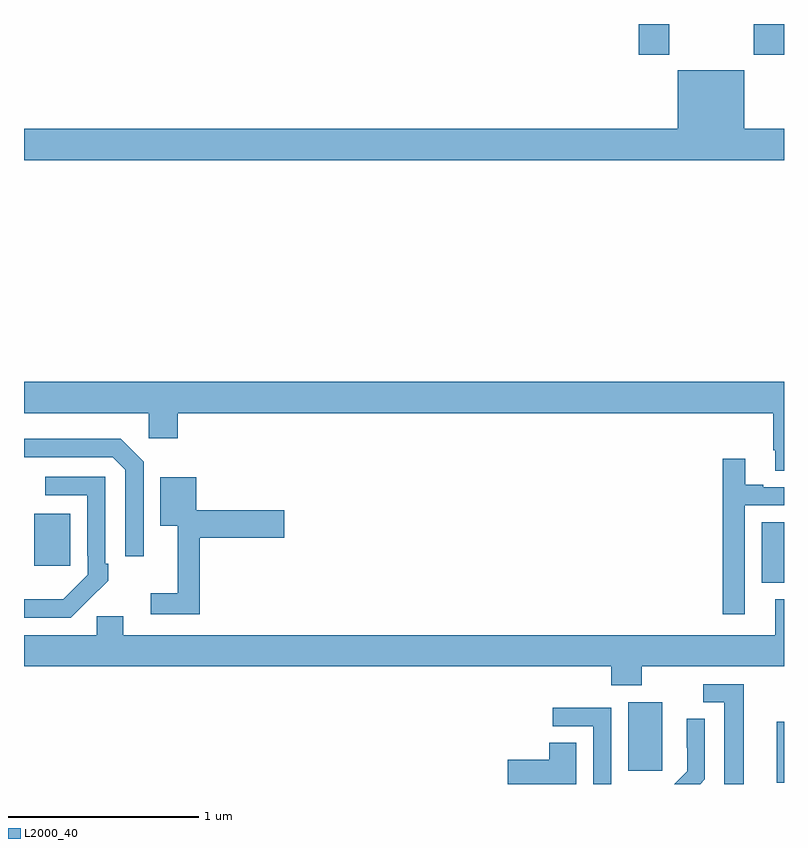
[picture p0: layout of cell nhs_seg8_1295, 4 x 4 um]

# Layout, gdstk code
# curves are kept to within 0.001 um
import gdstk
lib = gdstk.Library(unit=1e-6, precision=1e-09)
def R(c, l, rs):  # rectangles x0, y0, x1, y1
    for r in rs: c.add(gdstk.rectangle(r[:2], r[2:], *l))
def P(c, l, *ps):  # polygons
    for p in ps: c.add(gdstk.Polygon(p, *l))
L2000_40 = (2000, 40)

nhs_seg8_1295 = lib.new_cell('nhs_seg8_1295')
R(nhs_seg8_1295, L2000_40, [(196.961,1095.907,197,1096.227), (196.181,1095.969,196.36,1096.33), (196.883,1096.958,197,1097.278), (193.055,1097.049,193.243,1097.323), (196.235,1099.737,196.395,1099.9), (196.84,1099.737,197,1099.9)])
P(nhs_seg8_1295, L2000_40, [(197,1099.348),(196.792,1099.348),(196.792,1099.657),(196.442,1099.657),(196.442,1099.348),(193,1099.348),(193,1099.184),(197,1099.184)],
  [(197,1098.016),(193,1098.016),(193,1097.852),(193.656,1097.852),(193.656,1097.721),(193.808,1097.721),(193.808,1097.852),(196.943,1097.852),(196.943,1097.656),(196.955,1097.656),(196.955,1097.548),(197,1097.548)],
  [(193.629,1097.595),(193.508,1097.716),(193,1097.716),(193,1097.619),(193.467,1097.619),(193.533,1097.553),(193.533,1097.1),(193.629,1097.1)],
  [(196.794,1097.367),(197,1097.367),(197,1097.463),(196.891,1097.463),(196.891,1097.476),(196.795,1097.476),(196.795,1097.611),(196.678,1097.611),(196.678,1096.794),(196.794,1096.794)],
  [(193.337,1096.867),(193.338,1096.866),(193.443,1096.971),(193.443,1097.059),(193.428,1097.059),(193.428,1097.517),(193.113,1097.517),(193.113,1097.421),(193.332,1097.421),(193.332,1097.101),(193.335,1097.101),(193.335,1097.001),(193.207,1096.873),(193,1096.872),(193,1096.776),(193.246,1096.776)],
  [(193.925,1097.195),(194.371,1097.195),(194.371,1097.342),(193.906,1097.342),(193.906,1097.515),(193.718,1097.515),(193.718,1097.258),(193.808,1097.258),(193.808,1096.903),(193.668,1096.903),(193.668,1096.794),(193.925,1096.794)],
  [(196.251,1096.52),(197,1096.52),(197,1096.873),(196.955,1096.873),(196.955,1096.684),(193.522,1096.684),(193.522,1096.782),(193.383,1096.782),(193.383,1096.684),(193,1096.684),(193,1096.52),(196.091,1096.52),(196.091,1096.421),(196.251,1096.421)],
  [(196.789,1096.425),(196.575,1096.425),(196.575,1096.329),(196.685,1096.329),(196.685,1095.9),(196.789,1095.9)],
  [(196.092,1096.302),(195.783,1096.302),(195.783,1096.203),(195.996,1096.203),(195.996,1095.9),(196.092,1095.9)],
  [(196.584,1095.926),(196.584,1096.244),(196.488,1096.244),(196.488,1096.09),(196.49,1096.09),(196.49,1095.968),(196.422,1095.9),(196.558,1095.9)],
  [(195.907,1096.118),(195.764,1096.118),(195.764,1096.028),(195.546,1096.028),(195.546,1095.9),(195.907,1095.9)])

lib.write_gds('nhs_seg8_1295.gds')
